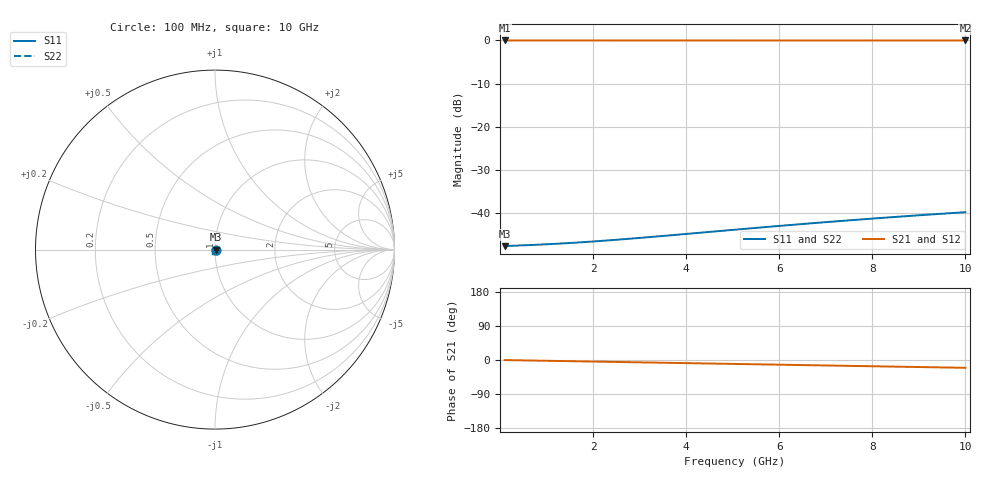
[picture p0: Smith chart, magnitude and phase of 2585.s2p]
# Hz S RI R 50.00
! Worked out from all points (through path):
!   100 points, 100 MHz to 10 GHz, reference 50 ohm
!   highest |S21| = -0.04 dB at 100 MHz (marker M1); lowest = 0.0 dB at 10 GHz (marker M2)
!   group delay of S21, straight-line fit = 5.73 ps
!   lowest |S11| = -47.6 dB at 100 MHz (marker M3), VSWR 1.01, Z = 50.4 - j0.0109 ohm
!   |S11| at or under -10 dB: start of sweep to end of sweep
!   |S22| runs from -47.6 to -39.8 dB; largest |S21 - S12| = 0
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1e8  0.00415 -0.000108  0.9958 -0.00358  0.9958 -0.00358  0.00415 -0.000108
2e8  0.00417 -0.000216  0.9958 -0.00716  0.9958 -0.00716  0.00417 -0.000216
8e8  0.00422 -0.000867  0.9953 -0.0286  0.9953 -0.0286  0.00422 -0.000867
1.1e9  0.00422 -0.00119  0.9949 -0.0394  0.9949 -0.0394  0.00422 -0.00119
1.4e9  0.00422 -0.00152  0.9944 -0.0501  0.9944 -0.0501  0.00422 -0.00152
1.6e9  0.0042 -0.00173  0.994 -0.0573  0.994 -0.0573  0.0042 -0.00173
1.8e9  0.00419 -0.00195  0.9935 -0.0644  0.9935 -0.0644  0.00419 -0.00195
2.1e9  0.00416 -0.00228  0.9928 -0.0751  0.9928 -0.0751  0.00416 -0.00228
2.5e9  0.00411 -0.00271  0.9915 -0.0894  0.9915 -0.0894  0.00411 -0.00271
2.9e9  0.00404 -0.00314  0.9901 -0.1037  0.9901 -0.1037  0.00404 -0.00314
3.4e9  0.00394 -0.00367  0.9881 -0.1215  0.9881 -0.1215  0.00394 -0.00367
4.2e9  0.00374 -0.00452  0.9841 -0.1498  0.9841 -0.1498  0.00374 -0.00452
5.1e9  0.00346 -0.00547  0.9787 -0.1816  0.9787 -0.1816  0.00346 -0.00547
5.9e9  0.00316 -0.00629  0.973 -0.2097  0.973 -0.2097  0.00316 -0.00629
6.7e9  0.00281 -0.0071  0.9665 -0.2377  0.9665 -0.2377  0.00281 -0.0071
7.2e9  0.00257 -0.0076  0.962 -0.255  0.962 -0.255  0.00257 -0.0076
7.6e9  0.00237 -0.00799  0.9582 -0.2689  0.9582 -0.2689  0.00237 -0.00799
8e9  0.00215 -0.00837  0.9542 -0.2826  0.9542 -0.2826  0.00215 -0.00837
8.4e9  0.00193 -0.00875  0.95 -0.2964  0.95 -0.2964  0.00193 -0.00875
8.8e9  0.00169 -0.00913  0.9456 -0.31  0.9456 -0.31  0.00169 -0.00913
9.2e9  0.00144 -0.00949  0.941 -0.3236  0.941 -0.3236  0.00144 -0.00949
1e10  0.000924 -0.0102  0.9312 -0.3506  0.9312 -0.3506  0.000924 -0.0102
